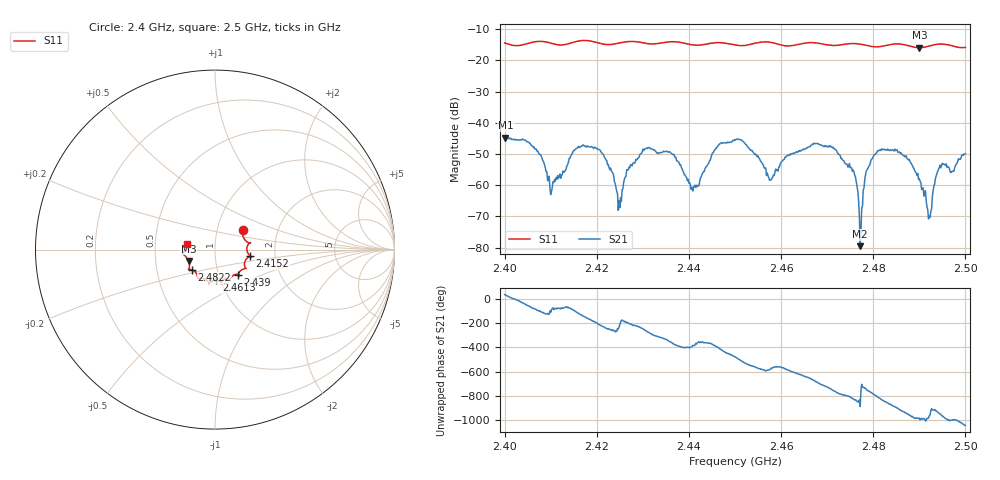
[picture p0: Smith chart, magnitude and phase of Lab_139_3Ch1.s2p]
# Hz S RI R 50
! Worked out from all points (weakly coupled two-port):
!   601 points, 2.4 GHz to 2.5 GHz, reference 50 ohm
!   highest |S21| = -44.75 dB at 2.4002 GHz (marker M1); lowest = -79.5 dB at 2.4772 GHz (marker M2)
!   lowest |S11| = -15.9 dB at 2.49 GHz (marker M3), VSWR 1.38, Z = 36.9 - j4.81 ohm
!   |S11| at or under -10 dB: start of sweep to end of sweep
!   S12 and S22 are empty: the file has one direction only
!   S11 on the Smith chart (normalised r, x): 2.4 GHz: 1.33, +0.31; 2.4152 GHz: 1.48, -0.11; 2.439 GHz: 1.24, -0.36; 2.4613 GHz: 0.96, -0.34; 2.4822 GHz: 0.76, -0.17; 2.5 GHz: 0.73, +0.05
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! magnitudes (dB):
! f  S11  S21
! 2.4 GHz  -14.4  -44.9
! 2.4002 GHz  -14.4  -44.7
! 2.4103 GHz  -14.6  -60.8
! 2.4152 GHz  -14.1  -48.8
! 2.4167 GHz  -13.6  -47.5
! 2.4212 GHz  -14.7  -49.7
! 2.4248 GHz  -14.4  -64.9
! 2.4333 GHz  -14.5  -49.6
! 2.439 GHz  -14.5  -56.6
! 2.45 GHz  -15.0  -45.3
! 2.4577 GHz  -14.2  -58.3
! 2.4613 GHz  -15.3  -50.4
! 2.4667 GHz  -14.3  -47.1
! 2.4753 GHz  -14.6  -54.6
! 2.4772 GHz  -14.8  -79.5
! 2.4787 GHz  -15.2  -55.0
! 2.4822 GHz  -15.4  -48.6
! 2.4833 GHz  -15.0  -48.7
! 2.49 GHz  -15.9  -58.0
! 2.4922 GHz  -15.3  -69.9
! 2.4945 GHz  -14.7  -53.5
! 2.5 GHz  -15.8  -49.9
